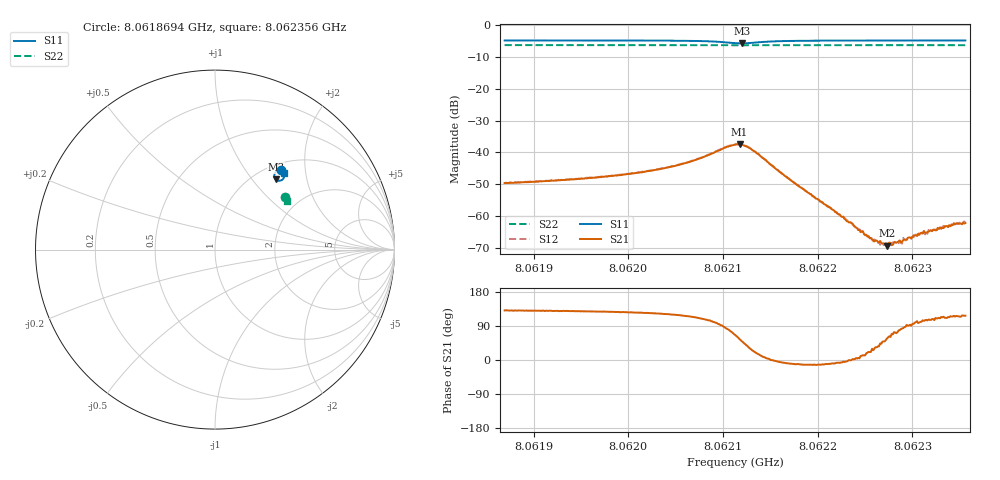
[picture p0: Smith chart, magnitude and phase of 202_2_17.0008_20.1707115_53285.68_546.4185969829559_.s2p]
#  HZ  S  RI  R  50.00
! Rohde & Schwarz Vector Network Analyzer
! Rohde-Schwarz,ZNB20-2Port,1311601062101988,3.16
! Created: UTC 3/20/2024, 11:01:06 PM
! freq[Hz]  re:S11  im:S11  re:S21  im:S21  re:S12  im:S12  re:S22  im:S22
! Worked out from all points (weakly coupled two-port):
!   401 points, 8.0618694 GHz to 8.062356 GHz, reference 50 ohm
!   highest |S21| = -37.47 dB at 8.0621176 GHz (marker M1); lowest = -69.4 dB at 8.0622733 GHz (marker M2)
!   lowest |S11| = -5.7 dB at 8.06212 GHz (marker M3), VSWR 3.15, Z = 62.1 + j66.3 ohm
!   |S11| at or under -10 dB: nowhere
!   |S22| runs from -6.3 to -6.3 dB; largest |S21 - S12| = 0.00096
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8.06186942e9  0.368 0.4428  -0.00215 0.00249  -0.00202 0.00259  0.3874 0.2943
8.06195092e9  0.3742 0.4368  -0.00243 0.00302  -0.0022 0.00317  0.3902 0.2902
8.06203242e9  0.3822 0.4264  -0.00292 0.00457  -0.00268 0.00477  0.393 0.2859
8.06206405e9  0.3856 0.4171  -0.003 0.00636  -0.00264 0.00658  0.394 0.284
8.0621127e9  0.3546 0.3838  0.00529 0.0121  0.00613 0.0119  0.3937 0.2808
8.06211757e9  0.3441 0.3875  0.0077 0.0109  0.00837 0.0105  0.3935 0.2809
8.06212e9  0.3393 0.391  0.00858 0.00991  0.00908 0.00958  0.3933 0.2811
8.06212608e9  0.3318 0.4028  0.00979 0.0072  0.0104 0.00655  0.3935 0.2814
8.06213581e9  0.3322 0.4215  0.0092 0.00291  0.00951 0.00233  0.394 0.2816
8.06216258e9  0.3523 0.4387  0.00457 -0.00054  0.00454 -0.000818  0.3962 0.281
8.0621942e9  0.3655 0.4386  0.00202 -0.000456  0.00201 -0.000554  0.3976 0.2793
8.06222704e9  0.3726 0.4361  0.000961 -6.86e-05  0.000956 -0.00019  0.3989 0.2775
8.06225137e9  0.3761 0.4343  0.000479 0.000152  0.000492 0.000116  0.3997 0.2761
8.06225745e9  0.3767 0.4339  0.000366 0.000209  0.000416 0.000157  0.4 0.2759
8.06226354e9  0.3776 0.4335  0.000319 0.000232  0.000317 0.000205  0.4001 0.2757
8.06227327e9  0.3786 0.4329  0.000185 0.000283  0.000201 0.000295  0.4005 0.2751
8.0622757e9  0.3788 0.4326  0.000175 0.000337  0.000167 0.00029  0.4006 0.2751
8.06228665e9  0.3801 0.432  7.93e-05 0.000404  5.84e-05 0.000382  0.401 0.2745
8.06229273e9  0.3806 0.4316  1.65e-05 0.000422  3.84e-05 0.000409  0.4013 0.2741
8.06231098e9  0.3823 0.4303  -0.000135 0.000515  -0.000103 0.000528  0.4019 0.2731
8.06234625e9  0.3852 0.4281  -0.000338 0.000686  -0.00027 0.000703  0.4029 0.2714
8.06235598e9  0.3859 0.4276  -0.000349 0.000689  -0.000315 0.000728  0.4033 0.2708
